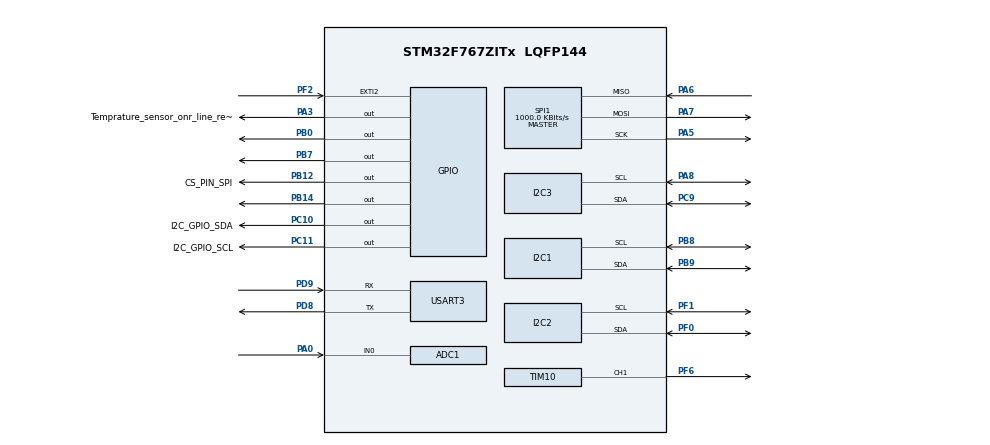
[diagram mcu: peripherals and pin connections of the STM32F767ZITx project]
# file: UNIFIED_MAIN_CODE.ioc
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ADC1.Channel-0\#ChannelRegularConversion=ADC_CHANNEL_0
ADC1.NbrOfConversionFlag=1
ADC1.Rank-0\#ChannelRegularConversion=1
ADC1.SamplingTime-0\#ChannelRegularConversion=ADC_SAMPLETIME_3CYCLES
ADC1.master=1
CORTEX_M7.default_mode_Activation=1
Mcu.Family=STM32F7
Mcu.Name=STM32F767ZITx
Mcu.Package=LQFP144
NVIC.EXTI2_IRQn=true\:0\:0\:false\:false\:true\:true\:true\:true
NVIC.PriorityGroup=NVIC_PRIORITYGROUP_4
NVIC.TIM1_UP_TIM10_IRQn=true\:0\:0\:false\:false\:true\:true\:true\:true
NVIC.TIM6_DAC_IRQn=true\:0\:0\:false\:false\:true\:true\:true\:true
NVIC.USART3_IRQn=true\:0\:0\:false\:false\:true\:true\:true\:true
PA0/WKUP.Signal=ADCx_IN0
PA13.Mode=Serial_Wire
PA13.Signal=SYS_JTMS-SWDIO
PA14.Mode=Serial_Wire
PA14.Signal=SYS_JTCK-SWCLK
PA3.GPIO_Label=Temprature_sensor_onr_line_read
PA3.Signal=GPIO_Output
PA5.Mode=Full_Duplex_Master
PA5.Signal=SPI1_SCK
PA6.Mode=Full_Duplex_Master
PA6.Signal=SPI1_MISO
PA7.Mode=Full_Duplex_Master
PA7.Signal=SPI1_MOSI
PA8.Mode=I2C
PA8.Signal=I2C3_SCL
PB0.Signal=GPIO_Output
PB12.GPIO_Label=CS_PIN_SPI
PB12.GPIO_ModeDefaultOutputPP=GPIO_MODE_OUTPUT_PP
PB12.GPIO_PuPd=GPIO_PULLDOWN
PB12.Signal=GPIO_Output
PB14.Signal=GPIO_Output
PB7.Signal=GPIO_Output
PB8.Mode=I2C
PB8.Signal=I2C1_SCL
PB9.Mode=I2C
PB9.Signal=I2C1_SDA
PC10.GPIO_Label=I2C_GPIO_SDA
PC10.GPIO_ModeDefaultOutputPP=GPIO_MODE_OUTPUT_OD
PC10.GPIO_PuPd=GPIO_PULLUP
PC10.Signal=GPIO_Output
PC11.GPIO_Label=I2C_GPIO_SCL
PC11.GPIO_ModeDefaultOutputPP=GPIO_MODE_OUTPUT_OD
PC11.GPIO_PuPd=GPIO_PULLUP
PC11.Signal=GPIO_Output
PC9.Mode=I2C
PC9.Signal=I2C3_SDA
PD8.Mode=Asynchronous
PD8.Signal=USART3_TX
PD9.Mode=Asynchronous
PD9.Signal=USART3_RX
PF0.Mode=I2C
PF0.Signal=I2C2_SDA
PF1.Mode=I2C
PF1.Signal=I2C2_SCL
PF2.Signal=GPXTI2
PF6.Signal=S_TIM10_CH1
PH0/OSC_IN.Mode=HSE-External-Oscillator
PH0/OSC_IN.Signal=RCC_OSC_IN
PH1/OSC_OUT.Mode=HSE-External-Oscillator
PH1/OSC_OUT.Signal=RCC_OSC_OUT
ProjectManager.HeapSize=0x200
ProjectManager.StackSize=0x400
ProjectManager.TargetToolchain=STM32CubeIDE
RCC.HSE_VALUE=25000000
RCC.HSI_VALUE=16000000
RCC.LSE_VALUE=32768
RCC.USBFreq_Value=96000000
RCC.VCOOutputFreq_Value=192000000
SH.ADCx_IN0.0=ADC1_IN0,IN0
SH.S_TIM10_CH1.0=TIM10_CH1,PWM Generation1 CH1
SPI1.BaudRatePrescaler=SPI_BAUDRATEPRESCALER_16
SPI1.CLKPhase=SPI_PHASE_2EDGE
SPI1.CLKPolarity=SPI_POLARITY_HIGH
SPI1.CalculateBaudRate=1000.0 KBits/s
SPI1.DataSize=SPI_DATASIZE_8BIT
SPI1.Direction=SPI_DIRECTION_2LINES
SPI1.Mode=SPI_MODE_MASTER
SPI1.VirtualType=VM_MASTER
TIM10.Channel=TIM_CHANNEL_1
TIM10.Period=999
TIM10.Prescaler=15999
TIM6.Period=999
TIM6.Prescaler=15999
USART3.VirtualMode-Asynchronous=VM_ASYNC
VP_TIM10_VS_ClockSourceINT.Mode=Enable_Timer
VP_TIM6_VS_ClockSourceINT.Mode=Enable_Timer
board=custom

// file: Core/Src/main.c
/* USER CODE BEGIN Header */
/**
  ******************************************************************************
  * @file           : main.c
  * @brief          : Main program body
  ******************************************************************************
  * @attention
  *
  * Copyright (c) 2026 STMicroelectronics.
  * All rights reserved.
  *
  * This software is licensed under terms that can be found in the LICENSE file
  * in the root directory of this software component.
  * If no LICENSE file comes with this software, it is provided AS-IS.
  *
  ******************************************************************************
  */
/* USER CODE END Header */
#include "main.h"

/* USER CODE BEGIN Includes */
#include "Uart.h"
#include "LED.h"
#include "SPI.h"
#include "eeprom.h"
#include "pwm_Timer.h"
#include <stdio.h>
#include "ds18b20.h"
#include "mpr121.h"

/* USER CODE END Includes */

/* USER CODE BEGIN PTD */
int16_t x_off = 0, y_off = 0, z_off = 0;

/* USER CODE END PTD */

ADC_HandleTypeDef hadc1;

I2C_HandleTypeDef hi2c1;
I2C_HandleTypeDef hi2c2;
I2C_HandleTypeDef hi2c3;

SPI_HandleTypeDef hspi1;

TIM_HandleTypeDef htim6;
TIM_HandleTypeDef htim10;

UART_HandleTypeDef huart3;

void SystemClock_Config(void);
static void MPU_Config(void);
static void MX_GPIO_Init(void);
static void MX_SPI1_Init(void);
static void MX_USART3_UART_Init(void);
static void MX_ADC1_Init(void);
static void MX_I2C1_Init(void);
static void MX_I2C2_Init(void);
static void MX_TIM6_Init(void);
static void MX_TIM10_Init(void);
static void MX_I2C3_Init(void);
/* USER CODE BEGIN PFP */

void HAL_TIM_PeriodElapsedCallback(TIM_HandleTypeDef *htim)
{
    PWM_TimerCallback(htim);
}

/* USER CODE END PFP */

/* USER CODE BEGIN 0 */

extern UART_HandleTypeDef huart3;

int _write(int file, char *ptr, int len)
{
    HAL_UART_Transmit(&huart3, (uint8_t *)ptr, len, HAL_MAX_DELAY);
    return len;
}

uint8_t current_mode;

void HAL_GPIO_EXTI_Callback(uint16_t GPIO_Pin)
{
    if (GPIO_Pin == GPIO_PIN_2)   // MPR121 IRQ pin
    {
        if (current_mode == MODE_MPR121)
        {
        	Process_MPR121_Touch();   // Handle touch event
        }
    }
}

/* USER CODE END 0 */

int main(void)
{

  /* MPU Configuration--------------------------------------------------------*/
  MPU_Config();

  /* MCU Configuration--------------------------------------------------------*/

  /* Reset of all peripherals, Initializes the Flash interface and the Systick. */
  HAL_Init();

  /* Configure the system clock */
  SystemClock_Config();

  /* Initialize all configured peripherals */
  MX_GPIO_Init();
  MX_SPI1_Init();
  MX_USART3_UART_Init();
  MX_ADC1_Init();
  MX_I2C1_Init();
  MX_I2C2_Init();
  MX_TIM6_Init();
  MX_TIM10_Init();
  MX_I2C3_Init();
  /* USER CODE BEGIN 2 */
//  UART_Menu_Init(&huart3);
  UART_Menu_Init(&huart3);
  EEPROM_Init(&hi2c1, &huart3);
  I2C_GPIO_InitBus();
  MPR121_Init(&hi2c3, &huart3);
  DWT_Delay_Init();
//  DS18B20_Init();
//  SPI_ADXL_Init();
//  HAL_Delay(100);
//  SPI_ADXL_Calibrate();
  PWM_Init();

  int16_t x, y, z;

//  uint8_t mode1 = UART_GetMode();

//  if (mode1 = MODE_PWM_START){

//  }

  /* USER CODE END 2 */

  /* Infinite loop */
  /* USER CODE BEGIN WHILE */

  uint8_t spi_ok = 0;

  uint8_t eeprom_done = 0;
  while (1)
  {
	  uint8_t new_mode = UART_GetMode();

	        if (new_mode != current_mode)
	        {
	            current_mode = new_mode;

	            switch (current_mode)
	            {
	                case MODE_LED:
	                    printf("LED Mode\r\n");
	                    break;

	                case MODE_SPI:
	              	  printf("SPI Mode Selected\r\n");
	                    spi_ok = SPI_ADXL_Init();

	                    if (!spi_ok)
	                    {
	                        printf("No device connected!\r\n");
	                    }
	                    break;

	                case MODE_EEPROM:
	                    printf("EEPROM Mode\r\n");
	                    eeprom_done = 0;
	                    break;

	                case MODE_GPIO_I2C:
	                    printf("I2C GPIO Mode\r\n");
	                    break;

	                case MODE_PWM:
	                    printf("PWM Mode start\r\n");
	                    PWM_StartSequence();
	                    break;
	                case MODE_PWM_STOP:
	                    printf("PWM STOP\r\n");
	                    PWM_StopSequence();
	                    break;

	                case MODE_ds18b20:
	                    printf("Running DS18B20 loop...\r\n");
	                    HAL_Delay(1000);
	                    break;

	                case MODE_MPR121:
	                    printf("MPR121 Touch Mode Selected\r\n");
	                    break;
	            }
	        }

	        switch (current_mode)
	        {
	        case MODE_SPI:
	            if (spi_ok)
	            {
	                SPI_ADXL_ReadXYZ(&x, &y, &z);

	                printf("X:%d  Y:%d  Z:%d\r\n", x, y, z);

	                HAL_Delay(1000);
	            }
	            break;

	            case MODE_LED:
	                LED_Toggle_Task();
	                break;

	            case MODE_EEPROM:
	                if (!eeprom_done)
	                {
	                    eeprom_done = 1;

	                    if (EEPROM_IsConnected())
	                    {
	                        printf("EEPROM DETECTED\r\n");

	                        EEPROM_WriteFullMemory();
	                        EEPROM_ReadFullMemory();
	                        EEPROM_VerifyFullMemory();
	                    }
	                    else
	                    {
	                        printf("EEPROM NOT CONNECTED\r\n");
	                    }
	                }
	                break;

	            case MODE_GPIO_I2C:
	                // Optional: run slowly
	                I2C_GPIO_RunTest();
	                HAL_Delay(500);
	                break;

	            case MODE_ds18b20:
	            {
	                float temp;

	                if (DS18B20_Reset())
	                {
	                    printf("Sensor Detected\r\n");

	                    temp = DS18B20_ReadTemperature();

	                    if (temp < -100)
	                    {
	                        printf("Sensor Error\r\n");
	                    }
	                    else
	                    {
	                        printf("Temperature: %.2f C\r\n", temp);
	                    }
	                }
	                else
	                {
	                    printf("No Sensor Found\r\n");
	                }

	                HAL_Delay(1000);
	            }
	            break;

	            case MODE_MPR121:
//	                Process_MPR121_Touch();
	  //              HAL_Delay(100);
	                break;

	            default:
	                break;
	        }

    /* USER CODE END WHILE */

  }
}

void SystemClock_Config(void)
{
  RCC_OscInitTypeDef RCC_OscInitStruct = {0};
  RCC_ClkInitTypeDef RCC_ClkInitStruct = {0};

  /** Configure the main internal regulator output voltage
  */
  __HAL_RCC_PWR_CLK_ENABLE();
  __HAL_PWR_VOLTAGESCALING_CONFIG(PWR_REGULATOR_VOLTAGE_SCALE3);

  /** Initializes the RCC Oscillators according to the specified parameters
  * in the RCC_OscInitTypeDef structure.
  */
  RCC_OscInitStruct.OscillatorType = RCC_OSCILLATORTYPE_HSI;
  RCC_OscInitStruct.HSIState = RCC_HSI_ON;
  RCC_OscInitStruct.HSICalibrationValue = RCC_HSICALIBRATION_DEFAULT;
  RCC_OscInitStruct.PLL.PLLState = RCC_PLL_NONE;
  if (HAL_RCC_OscConfig(&RCC_OscInitStruct) != HAL_OK)
  {
    Error_Handler();
  }

  /** Initializes the CPU, AHB and APB buses clocks
  */
  RCC_ClkInitStruct.ClockType = RCC_CLOCKTYPE_HCLK|RCC_CLOCKTYPE_SYSCLK
                              |RCC_CLOCKTYPE_PCLK1|RCC_CLOCKTYPE_PCLK2;
  RCC_ClkInitStruct.SYSCLKSource = RCC_SYSCLKSOURCE_HSI;
  RCC_ClkInitStruct.AHBCLKDivider = RCC_SYSCLK_DIV1;
  RCC_ClkInitStruct.APB1CLKDivider = RCC_HCLK_DIV1;
  RCC_ClkInitStruct.APB2CLKDivider = RCC_HCLK_DIV1;

  if (HAL_RCC_ClockConfig(&RCC_ClkInitStruct, FLASH_LATENCY_0) != HAL_OK)
  {
    Error_Handler();
  }
}

static void MX_ADC1_Init(void)
{

  ADC_ChannelConfTypeDef sConfig = {0};

  /** Configure the global features of the ADC (Clock, Resolution, Data Alignment and number of conversion)
  */
  hadc1.Instance = ADC1;
  hadc1.Init.ClockPrescaler = ADC_CLOCK_SYNC_PCLK_DIV2;
  hadc1.Init.Resolution = ADC_RESOLUTION_12B;
  hadc1.Init.ScanConvMode = ADC_SCAN_DISABLE;
  hadc1.Init.ContinuousConvMode = DISABLE;
  hadc1.Init.DiscontinuousConvMode = DISABLE;
  hadc1.Init.ExternalTrigConvEdge = ADC_EXTERNALTRIGCONVEDGE_NONE;
  hadc1.Init.ExternalTrigConv = ADC_SOFTWARE_START;
  hadc1.Init.DataAlign = ADC_DATAALIGN_RIGHT;
  hadc1.Init.NbrOfConversion = 1;
  hadc1.Init.DMAContinuousRequests = DISABLE;
  hadc1.Init.EOCSelection = ADC_EOC_SINGLE_CONV;
  if (HAL_ADC_Init(&hadc1) != HAL_OK)
  {
    Error_Handler();
  }

  /** Configure for the selected ADC regular channel its corresponding rank in the sequencer and its sample time.
  */
  sConfig.Channel = ADC_CHANNEL_0;
  sConfig.Rank = ADC_REGULAR_RANK_1;
  sConfig.SamplingTime = ADC_SAMPLETIME_3CYCLES;
  if (HAL_ADC_ConfigChannel(&hadc1, &sConfig) != HAL_OK)
  {
    Error_Handler();
  }

}

static void MX_I2C1_Init(void)
{

  hi2c1.Instance = I2C1;
  hi2c1.Init.Timing = 0x00303D5B;
  hi2c1.Init.OwnAddress1 = 0;
  hi2c1.Init.AddressingMode = I2C_ADDRESSINGMODE_7BIT;
  hi2c1.Init.DualAddressMode = I2C_DUALADDRESS_DISABLE;
  hi2c1.Init.OwnAddress2 = 0;
  hi2c1.Init.OwnAddress2Masks = I2C_OA2_NOMASK;
  hi2c1.Init.GeneralCallMode = I2C_GENERALCALL_DISABLE;
  hi2c1.Init.NoStretchMode = I2C_NOSTRETCH_DISABLE;
  if (HAL_I2C_Init(&hi2c1) != HAL_OK)
  {
    Error_Handler();
  }

  /** Configure Analogue filter
  */
  if (HAL_I2CEx_ConfigAnalogFilter(&hi2c1, I2C_ANALOGFILTER_ENABLE) != HAL_OK)
  {
    Error_Handler();
  }

  /** Configure Digital filter
  */
  if (HAL_I2CEx_ConfigDigitalFilter(&hi2c1, 0) != HAL_OK)
  {
    Error_Handler();
  }

}

static void MX_I2C2_Init(void)
{

  hi2c2.Instance = I2C2;
  hi2c2.Init.Timing = 0x00303D5B;
  hi2c2.Init.OwnAddress1 = 0;
  hi2c2.Init.AddressingMode = I2C_ADDRESSINGMODE_7BIT;
  hi2c2.Init.DualAddressMode = I2C_DUALADDRESS_DISABLE;
  hi2c2.Init.OwnAddress2 = 0;
  hi2c2.Init.OwnAddress2Masks = I2C_OA2_NOMASK;
  hi2c2.Init.GeneralCallMode = I2C_GENERALCALL_DISABLE;
  hi2c2.Init.NoStretchMode = I2C_NOSTRETCH_DISABLE;
  if (HAL_I2C_Init(&hi2c2) != HAL_OK)
  {
    Error_Handler();
  }

  /** Configure Analogue filter
  */
  if (HAL_I2CEx_ConfigAnalogFilter(&hi2c2, I2C_ANALOGFILTER_ENABLE) != HAL_OK)
  {
    Error_Handler();
  }

  /** Configure Digital filter
  */
  if (HAL_I2CEx_ConfigDigitalFilter(&hi2c2, 0) != HAL_OK)
  {
    Error_Handler();
  }

}

static void MX_I2C3_Init(void)
{

  hi2c3.Instance = I2C3;
  hi2c3.Init.Timing = 0x00303D5B;
  hi2c3.Init.OwnAddress1 = 0;
  hi2c3.Init.AddressingMode = I2C_ADDRESSINGMODE_7BIT;
  hi2c3.Init.DualAddressMode = I2C_DUALADDRESS_DISABLE;
  hi2c3.Init.OwnAddress2 = 0;
  hi2c3.Init.OwnAddress2Masks = I2C_OA2_NOMASK;
  hi2c3.Init.GeneralCallMode = I2C_GENERALCALL_DISABLE;
  hi2c3.Init.NoStretchMode = I2C_NOSTRETCH_DISABLE;
  if (HAL_I2C_Init(&hi2c3) != HAL_OK)
  {
    Error_Handler();
  }

  /** Configure Analogue filter
  */
  if (HAL_I2CEx_ConfigAnalogFilter(&hi2c3, I2C_ANALOGFILTER_ENABLE) != HAL_OK)
  {
    Error_Handler();
  }

  /** Configure Digital filter
  */
  if (HAL_I2CEx_ConfigDigitalFilter(&hi2c3, 0) != HAL_OK)
  {
    Error_Handler();
  }

}

static void MX_SPI1_Init(void)
{

  /* SPI1 parameter configuration*/
  hspi1.Instance = SPI1;
  hspi1.Init.Mode = SPI_MODE_MASTER;
  hspi1.Init.Direction = SPI_DIRECTION_2LINES;
  hspi1.Init.DataSize = SPI_DATASIZE_8BIT;
  hspi1.Init.CLKPolarity = SPI_POLARITY_HIGH;
  hspi1.Init.CLKPhase = SPI_PHASE_2EDGE;
  hspi1.Init.NSS = SPI_NSS_SOFT;
  hspi1.Init.BaudRatePrescaler = SPI_BAUDRATEPRESCALER_16;
  hspi1.Init.FirstBit = SPI_FIRSTBIT_MSB;
  hspi1.Init.TIMode = SPI_TIMODE_DISABLE;
  hspi1.Init.CRCCalculation = SPI_CRCCALCULATION_DISABLE;
  hspi1.Init.CRCPolynomial = 7;
  hspi1.Init.CRCLength = SPI_CRC_LENGTH_DATASIZE;
  hspi1.Init.NSSPMode = SPI_NSS_PULSE_DISABLE;
  if (HAL_SPI_Init(&hspi1) != HAL_OK)
  {
    Error_Handler();
  }

}

static void MX_TIM6_Init(void)
{

  TIM_MasterConfigTypeDef sMasterConfig = {0};

  htim6.Instance = TIM6;
  htim6.Init.Prescaler = 15999;
  htim6.Init.CounterMode = TIM_COUNTERMODE_UP;
  htim6.Init.Period = 999;
  htim6.Init.AutoReloadPreload = TIM_AUTORELOAD_PRELOAD_DISABLE;
  if (HAL_TIM_Base_Init(&htim6) != HAL_OK)
  {
    Error_Handler();
  }
  sMasterConfig.MasterOutputTrigger = TIM_TRGO_RESET;
  sMasterConfig.MasterSlaveMode = TIM_MASTERSLAVEMODE_DISABLE;
  if (HAL_TIMEx_MasterConfigSynchronization(&htim6, &sMasterConfig) != HAL_OK)
  {
    Error_Handler();
  }

}

static void MX_TIM10_Init(void)
{

  TIM_OC_InitTypeDef sConfigOC = {0};

  htim10.Instance = TIM10;
  htim10.Init.Prescaler = 15999;
  htim10.Init.CounterMode = TIM_COUNTERMODE_UP;
  htim10.Init.Period = 999;
  htim10.Init.ClockDivision = TIM_CLOCKDIVISION_DIV1;
  htim10.Init.AutoReloadPreload = TIM_AUTORELOAD_PRELOAD_DISABLE;
  if (HAL_TIM_Base_Init(&htim10) != HAL_OK)
  {
    Error_Handler();
  }
  if (HAL_TIM_PWM_Init(&htim10) != HAL_OK)
  {
    Error_Handler();
  }
  sConfigOC.OCMode = TIM_OCMODE_PWM1;
  sConfigOC.Pulse = 0;
  sConfigOC.OCPolarity = TIM_OCPOLARITY_HIGH;
  sConfigOC.OCFastMode = TIM_OCFAST_DISABLE;
  if (HAL_TIM_PWM_ConfigChannel(&htim10, &sConfigOC, TIM_CHANNEL_1) != HAL_OK)
  {
    Error_Handler();
  }
  HAL_TIM_MspPostInit(&htim10);

}

static void MX_USART3_UART_Init(void)
{

  huart3.Instance = USART3;
  huart3.Init.BaudRate = 115200;
  huart3.Init.WordLength = UART_WORDLENGTH_8B;
  huart3.Init.StopBits = UART_STOPBITS_1;
  huart3.Init.Parity = UART_PARITY_NONE;
  huart3.Init.Mode = UART_MODE_TX_RX;
  huart3.Init.HwFlowCtl = UART_HWCONTROL_NONE;
  huart3.Init.OverSampling = UART_OVERSAMPLING_16;
  huart3.Init.OneBitSampling = UART_ONE_BIT_SAMPLE_DISABLE;
  huart3.AdvancedInit.AdvFeatureInit = UART_ADVFEATURE_NO_INIT;
  if (HAL_UART_Init(&huart3) != HAL_OK)
  {
    Error_Handler();
  }

}

static void MX_GPIO_Init(void)
{
  GPIO_InitTypeDef GPIO_InitStruct = {0};

  /* GPIO Ports Clock Enable */
  __HAL_RCC_GPIOF_CLK_ENABLE();
  __HAL_RCC_GPIOH_CLK_ENABLE();
  __HAL_RCC_GPIOA_CLK_ENABLE();
  __HAL_RCC_GPIOB_CLK_ENABLE();
  __HAL_RCC_GPIOD_CLK_ENABLE();
  __HAL_RCC_GPIOC_CLK_ENABLE();

  /*Configure GPIO pin Output Level */
  HAL_GPIO_WritePin(Temprature_sensor_onr_line_read_GPIO_Port, Temprature_sensor_onr_line_read_Pin, GPIO_PIN_RESET);

  /*Configure GPIO pin Output Level */
  HAL_GPIO_WritePin(GPIOB, GPIO_PIN_0|CS_PIN_SPI_Pin|GPIO_PIN_14|GPIO_PIN_7, GPIO_PIN_RESET);

  /*Configure GPIO pin Output Level */
  HAL_GPIO_WritePin(GPIOC, I2C_GPIO_SDA_Pin|I2C_GPIO_SCL_Pin, GPIO_PIN_RESET);

  /*Configure GPIO pin : PF2 */
  GPIO_InitStruct.Pin = GPIO_PIN_2;
  GPIO_InitStruct.Mode = GPIO_MODE_IT_RISING;
  GPIO_InitStruct.Pull = GPIO_NOPULL;
  HAL_GPIO_Init(GPIOF, &GPIO_InitStruct);

  /*Configure GPIO pin : Temprature_sensor_onr_line_read_Pin */
  GPIO_InitStruct.Pin = Temprature_sensor_onr_line_read_Pin;
  GPIO_InitStruct.Mode = GPIO_MODE_OUTPUT_PP;
  GPIO_InitStruct.Pull = GPIO_NOPULL;
  GPIO_InitStruct.Speed = GPIO_SPEED_FREQ_LOW;
  HAL_GPIO_Init(Temprature_sensor_onr_line_read_GPIO_Port, &GPIO_InitStruct);

  /*Configure GPIO pins : PB0 PB14 PB7 */
  GPIO_InitStruct.Pin = GPIO_PIN_0|GPIO_PIN_14|GPIO_PIN_7;
  GPIO_InitStruct.Mode = GPIO_MODE_OUTPUT_PP;
  GPIO_InitStruct.Pull = GPIO_NOPULL;
  GPIO_InitStruct.Speed = GPIO_SPEED_FREQ_LOW;
  HAL_GPIO_Init(GPIOB, &GPIO_InitStruct);

  /*Configure GPIO pin : CS_PIN_SPI_Pin */
  GPIO_InitStruct.Pin = CS_PIN_SPI_Pin;
  GPIO_InitStruct.Mode = GPIO_MODE_OUTPUT_PP;
  GPIO_InitStruct.Pull = GPIO_PULLDOWN;
  GPIO_InitStruct.Speed = GPIO_SPEED_FREQ_LOW;
  HAL_GPIO_Init(CS_PIN_SPI_GPIO_Port, &GPIO_InitStruct);

  /*Configure GPIO pins : I2C_GPIO_SDA_Pin I2C_GPIO_SCL_Pin */
  GPIO_InitStruct.Pin = I2C_GPIO_SDA_Pin|I2C_GPIO_SCL_Pin;
  GPIO_InitStruct.Mode = GPIO_MODE_OUTPUT_OD;
  GPIO_InitStruct.Pull = GPIO_PULLUP;
  GPIO_InitStruct.Speed = GPIO_SPEED_FREQ_LOW;
  HAL_GPIO_Init(GPIOC, &GPIO_InitStruct);

  /* EXTI interrupt init*/
  HAL_NVIC_SetPriority(EXTI2_IRQn, 0, 0);
  HAL_NVIC_EnableIRQ(EXTI2_IRQn);

}

/* USER CODE BEGIN 4 */

/* USER CODE BEGIN 4 */

//void HAL_GPIO_EXTI_Callback(uint16_t GPIO_Pin)
//{
//    if (GPIO_Pin == GPIO_PIN_2)
//    {
//        if (current_mode == MODE_MPR121)
//        {
//            MPR121_InterruptHandler();
//        }
//    }
//}

/* USER CODE END 4 */

 /* MPU Configuration */

void MPU_Config(void)
{
  MPU_Region_InitTypeDef MPU_InitStruct = {0};

  /* Disables the MPU */
  HAL_MPU_Disable();

  /** Initializes and configures the Region and the memory to be protected
  */
  MPU_InitStruct.Enable = MPU_REGION_ENABLE;
  MPU_InitStruct.Number = MPU_REGION_NUMBER0;
  MPU_InitStruct.BaseAddress = 0x0;
  MPU_InitStruct.Size = MPU_REGION_SIZE_4GB;
  MPU_InitStruct.SubRegionDisable = 0x87;
  MPU_InitStruct.TypeExtField = MPU_TEX_LEVEL0;
  MPU_InitStruct.AccessPermission = MPU_REGION_NO_ACCESS;
  MPU_InitStruct.DisableExec = MPU_INSTRUCTION_ACCESS_DISABLE;
  MPU_InitStruct.IsShareable = MPU_ACCESS_SHAREABLE;
  MPU_InitStruct.IsCacheable = MPU_ACCESS_NOT_CACHEABLE;
  MPU_InitStruct.IsBufferable = MPU_ACCESS_NOT_BUFFERABLE;

  HAL_MPU_ConfigRegion(&MPU_InitStruct);
  /* Enables the MPU */
  HAL_MPU_Enable(MPU_PRIVILEGED_DEFAULT);

}

void Error_Handler(void)
{
  __disable_irq();
  while (1)
  {
  }
}
